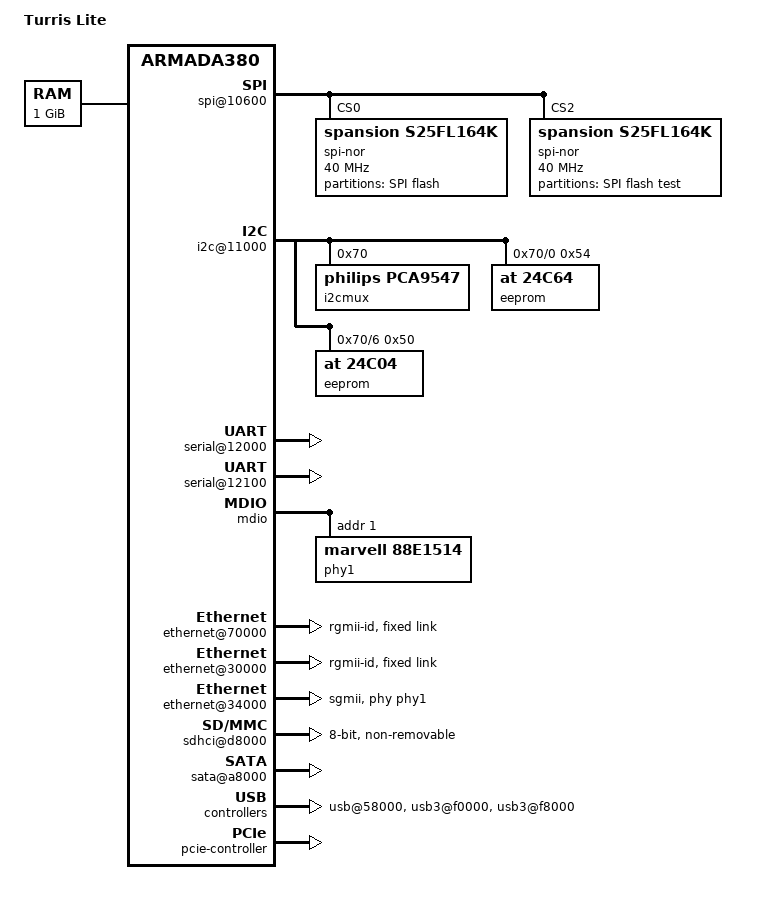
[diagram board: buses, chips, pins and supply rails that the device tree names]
#include <dt-bindings/gpio/gpio.h>
#include <dt-bindings/input/input.h>
#include "armada-385.dtsi"

/ {
	model = "Turris Lite";
	compatible = "marvell,armada385","marvell,armada380";

	chosen {
		bootargs = "console=ttyS0,115200";
		stdout-path = &uart0;
	};

	memory {
		device_type = "memory";
		reg = <0x00000000 0x40000000>; /* 1024 MB */
	};

	soc {
		ranges = <MBUS_ID(0xf0, 0x01) 0 0xf1000000 0x100000
			  MBUS_ID(0x01, 0x1d) 0 0xfff00000 0x100000>;

		internal-regs {
			spi@10600 {
				status = "okay";
				spi-nor@0 {
					compatible = "spansion,s25fl164k", "jedec,spi-nor";
					#address-cells = <1>;
					#size-cells = <1>;
					reg = <0>;
					spi-max-frequency = <40000000>;

					partition@0 {
						reg = <0x0 0x00800000>;
                                		label = "SPI flash";
                        		};
				};
				spi-nor@1 {
					/* Test */
					compatible = "spansion,s25fl164k", "jedec,spi-nor";
					#address-cells = <1>;
					#size-cells = <1>;
					reg = <2>;
					spi-max-frequency = <40000000>;

					partition@0 {
						reg = <0x0 0x00800000>;
                                		label = "SPI flash test";
                        		};
				};
			};

			i2c@11000 {
				pinctrl-names = "default";
				pinctrl-0 = <&i2c0_pins>;
				status = "okay";

				i2cmux@77 {
					#address-cells = <1>;
					#size-cells = <0>;
					compatible = "philips,pca9547";
					reg = <0x70>;
					i2c@0 {
						/*  */
						#address-cells = <1>;
						#size-cells = <0>;
						compatible = "philips,pca9547-channel";
						reg = <0>;
						eeprom@54 {
							compatible = "at,24c64";
							reg = <0x54>;
						};

						/* Additional device: STM-32, address unknown. */
      					};
					i2c@1 {
						/* SATA */
						#address-cells = <1>;
						#size-cells = <0>;
						compatible = "philips,pca9547-channel";
						reg = <1>;
					};
					i2c@2 {
						/* PCI 1 */
						#address-cells = <1>;
						#size-cells = <0>;
						compatible = "philips,pca9547-channel";
						reg = <2>;
					};
					i2c@3 {
						/* PCI 0 */
						#address-cells = <1>;
						#size-cells = <0>;
						compatible = "philips,pca9547-channel";
						reg = <3>;
					};
					i2c@4 {
						/* SFP */
						#address-cells = <1>;
						#size-cells = <0>;
						compatible = "philips,pca9547-channel";
						reg = <4>;
					};
					i2c@5 {
						/* ATSHA */
						#address-cells = <1>;
						#size-cells = <0>;
						compatible = "philips,pca9547-channel";
						reg = <5>;
      					};
					i2c@6 {
						/* User GPIO header */
						#address-cells = <1>;
						#size-cells = <0>;
						compatible = "philips,pca9547-channel";
						reg = <6>;
						eeprom@50 {
							/* Test */
							compatible = "at,24c04";
							reg = <0x50>;
						};
      					};
				};
			};

			serial@12000 {
				pinctrl-names = "default";
				pinctrl-0 = <&uart0_pins>;
				status = "okay";
			};
			
			serial@12100 {
				pinctrl-names = "default";
				pinctrl-0 = <&uart1_pins>;
				status = "okay";
			};

			mdio: mdio@72004 {
				status = "okay";
				phy1: phy@1 {
					status = "okay";
					compatible = "marvell,88E1514", "marvell,88E1510", "ethernet-phy-ieee802.3-c22";
					reg = <1>;
				};
			};
 
			ethernet@70000 {
				status = "okay";
				phy-mode = "rgmii-id";
				fixed-link {
					speed = <1000>;
					full-duplex;
				};
			};

			ethernet@30000 {
				status = "okay";
				phy-mode = "rgmii-id";
				fixed-link {
					speed = <1000>;
					full-duplex;
				};
			};

			ethernet@34000 {
				status = "okay";
				phy-mode = "sgmii";
				phy-handle = <&phy1>;
				phy = <&phy1>;
			};

			sdhci@d8000 {
				status = "okay";
				bus-width = <8>;
				no-1-8-v;
				non-removable;
			};

			sata@a8000 {
				status = "okay";
			};

			/* USB part of the eSATA/USB 2.0 port */
			usb@58000 {
				status = "okay";
			};

			/* 2x external USB3 */
			usb3@f0000 {
				status = "okay";
			};

			usb3@f8000 {
				status = "okay";
			};

		};

		pcie-controller {
			status = "okay";

			pcie@1,0 {
				/* Port 0, Lane 0 */
				status = "okay";
			};

			pcie@2,0 {
				/* Port 2, Lane 0 */
				status = "okay";
			};

			pcie@3,0 {
				/* Port 3, Lane 0 */
				status = "okay";
			};

                        pcie@4,0 {
                                /* Port 4, Lane 0 */
                                status = "okay";
                        };

		};
	};

	mvsw61xx {
		status = "okay";
		compatible = "marvell,88e6176";
		reg = <0x10>;
		is-indirect;
		mii-bus = <&mdio>;
		cpu-port-0 = <5>;
		cpu-port-1 = <6>;
	};
};

&pinctrl {
	user_pin: user-pin {
		marvell,pins = "mpp18", "mpp33", "mpp34", "mpp35", "mpp36",
				"mpp42", "mpp44", "mpp47", "mpp51", "mpp56";
		marvell,function = "gpio";
	};
};

